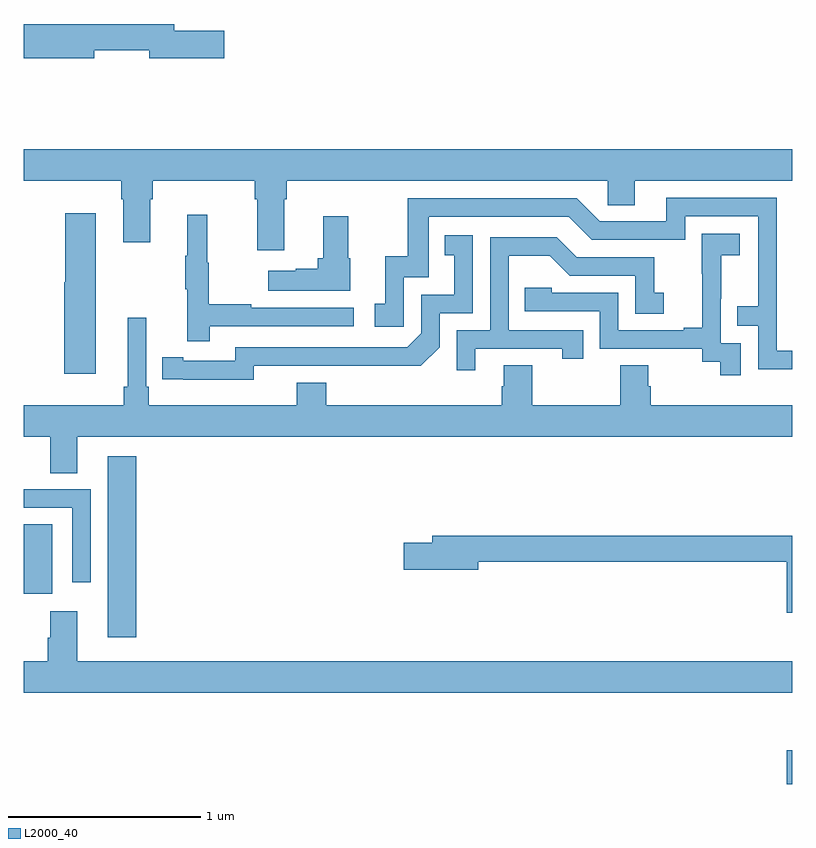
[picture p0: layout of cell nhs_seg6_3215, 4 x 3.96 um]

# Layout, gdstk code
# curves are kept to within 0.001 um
import gdstk
lib = gdstk.Library(unit=1e-6, precision=1e-09)
def R(c, l, rs):  # rectangles x0, y0, x1, y1
    for r in rs: c.add(gdstk.rectangle(r[:2], r[2:], *l))
def P(c, l, *ps):  # polygons
    for p in ps: c.add(gdstk.Polygon(p, *l))
L2000_40 = (2000, 40)

nhs_seg6_3215 = lib.new_cell('nhs_seg6_3215')
R(nhs_seg6_3215, L2000_40, [(302.972,973.5,303,973.675), (299.438,974.265,299.585,975.205), (299,974.49,299.149,974.852)])
P(nhs_seg6_3215, L2000_40, [(299.368,977.32),(299.654,977.32),(299.654,977.278),(300.043,977.278),(300.043,977.42),(299.782,977.42),(299.782,977.456),(299,977.456),(299,977.278),(299.368,977.278)],
  [(300.355,976.544),(300.368,976.544),(300.368,976.64),(302.04,976.64),(302.04,976.513),(302.179,976.513),(302.179,976.64),(303,976.64),(303,976.804),(299,976.804),(299,976.64),(299.507,976.64),(299.507,976.544),(299.519,976.544),(299.519,976.32),(299.659,976.32),(299.659,976.544),(299.672,976.544),(299.672,976.64),(300.203,976.64),(300.203,976.544),(300.215,976.544),(300.215,976.278),(300.355,976.278)],
  [(303,975.756),(302.919,975.756),(302.919,976.551),(302.345,976.551),(302.345,976.428),(301.998,976.428),(301.878,976.548),(300.999,976.548),(300.999,976.246),(300.881,976.246),(300.881,975.999),(300.828,975.999),(300.828,975.879),(300.978,975.879),(300.978,976.137),(301.107,976.137),(301.107,976.452),(301.836,976.452),(301.956,976.332),(302.442,976.332),(302.442,976.455),(302.823,976.455),(302.823,975.986),(302.713,975.986),(302.713,975.885),(302.823,975.885),(302.823,975.66),(303,975.66)],
  [(299.374,976.471),(299.216,976.471),(299.216,976.113),(299.21,976.113),(299.21,975.636),(299.374,975.636)],
  [(299.969,975.882),(300.718,975.882),(300.718,975.978),(300.185,975.978),(300.185,975.998),(299.962,975.998),(299.962,976.212),(299.954,976.212),(299.954,976.462),(299.852,976.462),(299.852,976.249),(299.841,976.249),(299.841,976.075),(299.852,976.075),(299.852,975.804),(299.969,975.804)],
  [(300.7,976.236),(300.69,976.236),(300.69,976.456),(300.56,976.456),(300.56,976.236),(300.53,976.236),(300.53,976.181),(300.416,976.181),(300.416,976.171),(300.273,976.171),(300.273,976.067),(300.7,976.067)],
  [(302.733,975.795),(302.628,975.795),(302.628,976.025),(302.63,976.025),(302.63,976.253),(302.728,976.253),(302.728,976.363),(302.53,976.363),(302.53,976.157),(302.531,976.157),(302.531,975.874),(302.435,975.874),(302.435,975.861),(302.094,975.861),(302.094,976.056),(301.749,976.056),(301.749,976.083),(301.609,976.083),(301.609,975.96),(301.998,975.96),(301.998,975.765),(302.532,975.765),(302.532,975.697),(302.625,975.697),(302.625,975.627),(302.733,975.627)],
  [(300.198,975.678),(301.066,975.677),(301.164,975.774),(301.164,975.951),(301.338,975.951),(301.338,976.357),(301.192,976.357),(301.192,976.251),(301.241,976.251),(301.241,976.047),(301.068,976.047),(301.068,975.846),(300.996,975.774),(300.102,975.774),(300.102,975.702),(299.83,975.702),(299.83,975.722),(299.722,975.722),(299.722,975.606),(300.198,975.605)],
  [(301.351,975.765),(301.802,975.765),(301.802,975.714),(301.913,975.714),(301.913,975.861),(301.524,975.861),(301.524,976.25),(301.738,976.25),(301.842,976.146),(302.184,976.146),(302.184,975.948),(302.332,975.948),(302.332,976.057),(302.283,976.057),(302.283,976.242),(301.879,976.242),(301.774,976.347),(301.428,976.347),(301.428,975.861),(301.254,975.861),(301.254,975.654),(301.351,975.654)],
  [(299.278,975.308),(303,975.308),(303,975.472),(302.264,975.472),(302.264,975.57),(302.251,975.57),(302.251,975.68),(302.104,975.68),(302.104,975.472),(301.647,975.472),(301.647,975.68),(301.499,975.68),(301.499,975.57),(301.487,975.57),(301.487,975.472),(300.575,975.472),(300.575,975.589),(300.422,975.589),(300.422,975.472),(299.651,975.472),(299.651,975.568),(299.637,975.568),(299.637,975.928),(299.54,975.928),(299.54,975.568),(299.521,975.568),(299.521,975.472),(299,975.472),(299,975.308),(299.138,975.308),(299.138,975.118),(299.278,975.118)],
  [(299.349,975.033),(299,975.033),(299,974.937),(299.253,974.937),(299.253,974.55),(299.349,974.55)],
  [(303,974.792),(301.127,974.792),(301.127,974.756),(300.978,974.756),(300.978,974.614),(301.366,974.614),(301.366,974.656),(302.972,974.656),(302.972,974.391),(303,974.391)],
  [(303,974.14),(299.278,974.14),(299.278,974.398),(299.138,974.398),(299.138,974.261),(299.126,974.261),(299.126,974.14),(299,974.14),(299,973.976),(303,973.976)])

lib.write_gds('nhs_seg6_3215.gds')
